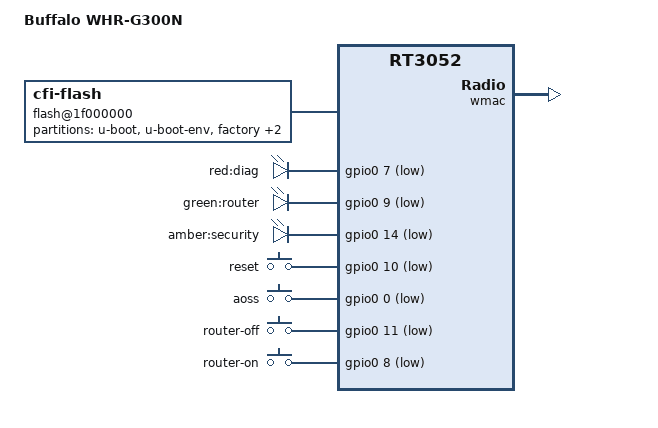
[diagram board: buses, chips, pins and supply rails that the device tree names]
#include "rt3050.dtsi"

#include <dt-bindings/gpio/gpio.h>
#include <dt-bindings/input/input.h>

/ {
	compatible = "buffalo,whr-g300n", "ralink,rt3052-soc";
	model = "Buffalo WHR-G300N";

	aliases {
		led-boot = &led_diag;
		led-failsafe = &led_diag;
		led-upgrade = &led_diag;
	};

	flash@1f000000 {
		compatible = "cfi-flash";
		reg = <0x1f000000 0x800000>;
		bank-width = <2>;
		device-width = <2>;

		partitions {
			compatible = "fixed-partitions";
			#address-cells = <1>;
			#size-cells = <1>;

			partition@0 {
				label = "u-boot";
				reg = <0x0 0x30000>;
				read-only;
			};

			partition@30000 {
				label = "u-boot-env";
				reg = <0x30000 0x10000>;
				read-only;
			};

			factory: partition@40000 {
				label = "factory";
				reg = <0x40000 0x10000>;
				read-only;
			};

			partition@50000 {
				compatible = "denx,uimage";
				label = "firmware";
				reg = <0x50000 0x3a0000>;
			};

			partition@3f0000 {
				label = "user";
				reg = <0x3f0000 0x10000>;
				read-only;
			};
		};
	};

	leds {
		compatible = "gpio-leds";

		led_diag: diag {
			label = "red:diag";
			gpios = <&gpio0 7 GPIO_ACTIVE_LOW>;
		};

		router {
			label = "green:router";
			gpios = <&gpio0 9 GPIO_ACTIVE_LOW>;
		};

		security {
			label = "amber:security";
			gpios = <&gpio0 14 GPIO_ACTIVE_LOW>;
		};
	};

	keys {
		compatible = "gpio-keys-polled";
		poll-interval = <20>;

		reset {
			label = "reset";
			gpios = <&gpio0 10 GPIO_ACTIVE_LOW>;
			linux,code = <KEY_RESTART>;
		};

		aoss {
			label = "aoss";
			gpios = <&gpio0 0 GPIO_ACTIVE_LOW>;
			linux,code = <KEY_WPS_BUTTON>;
		};

		router-off {
			label = "router-off";
			gpios = <&gpio0 11 GPIO_ACTIVE_LOW>;
			linux,code = <BTN_2>;
		};

		router-on {
			label = "router-on";
			gpios = <&gpio0 8 GPIO_ACTIVE_LOW>;
			linux,code = <BTN_3>;
		};
	};
};

&state_default {
	gpio {
		groups = "spi", "i2c", "jtag", "rgmii", "mdio", "uartf";
		function = "gpio";
	};
};

&ethernet {
	nvmem-cells = <&macaddr_factory_4>;
	nvmem-cell-names = "mac-address";
};

&esw {
	mediatek,portmap = <0x2f>;
};

&wmac {
	ralink,mtd-eeprom = <&factory 0x0>;
};

&factory {
	compatible = "nvmem-cells";
	#address-cells = <1>;
	#size-cells = <1>;

	macaddr_factory_4: macaddr@4 {
		reg = <0x4 0x6>;
	};
};
